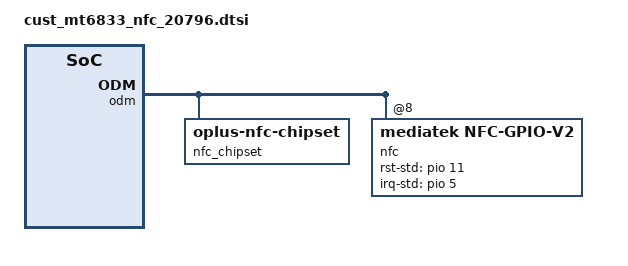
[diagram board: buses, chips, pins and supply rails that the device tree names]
&odm {
    nfc_chipset:nfc_chipset {
            compatible = "oplus-nfc-chipset";
            chipset-20795 = "ST21H";
            chipset-20796 = "ST21H";
            chipset-2070B = "ST21H";
            chipset-2070E = "ST21H";
            chipset-216A1 = "ST21H";
            chipset-216B6 = "ST21H";
            chipset-21748 = "ST21H";
    };
    nfc:nfc {
           compatible = "mediatek,nfc-gpio-v2";
           reg = <0x8>;
           gpio-rst = <11>;
           gpio-rst-std = <&pio 11 0x0>;
           gpio-irq = <5>;
           gpio-irq-std  = <&pio 5 0x0>;
    };
};
